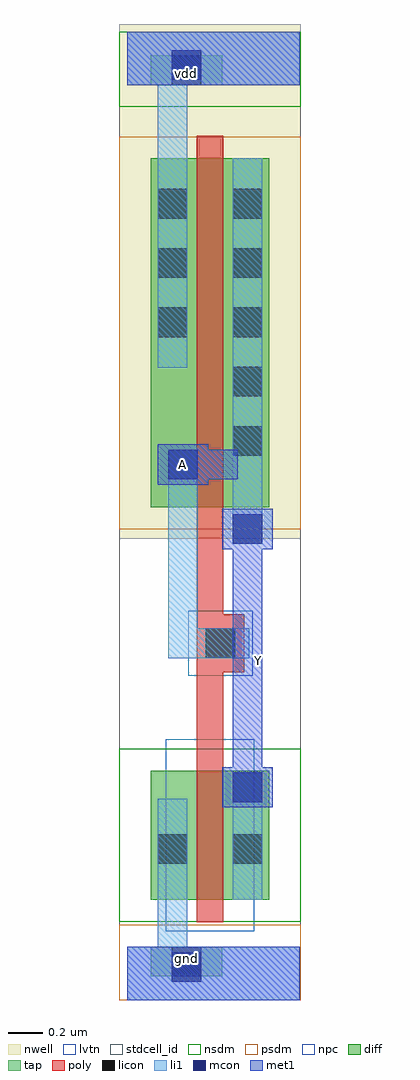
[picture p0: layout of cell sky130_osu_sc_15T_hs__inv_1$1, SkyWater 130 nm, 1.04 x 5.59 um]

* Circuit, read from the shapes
.subckt sky130_osu_sc_15T_hs__inv_1$1 A Y gnd vdd
XM1 Y A gnd gnd sky130_fd_pr__nfet_01v8_lvt w=0.74 l=0.15
XM2 Y A vdd vdd sky130_fd_pr__pfet_01v8 w=2 l=0.15
.ends

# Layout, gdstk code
import gdstk
lib = gdstk.Library(unit=1e-6, precision=1e-09)
def R(c, l, rs):  # rectangles x0, y0, x1, y1
    for r in rs: c.add(gdstk.rectangle(r[:2], r[2:], *l))
def A(c, l, x, y, w, h, nx, ny, dx, dy):  # array of equal rectangles
    R(c, l, [(x+i*dx, y+j*dy, x+i*dx+w, y+j*dy+h) for i in range(nx) for j in range(ny)])
nwell = (64, 20)
diff = (65, 20)
tap = (65, 44)
poly = (66, 20)
licon = (66, 44)
li1 = (67, 20)
mcon = (67, 44)
met1 = (68, 20)
stdcell_id = (81, 4)
nsdm = (93, 44)
psdm = (94, 20)
npc = (95, 20)
lvtn = (125, 44)

sky130_osu_sc_15t_hs__in = lib.new_cell('sky130_osu_sc_15T_hs__inv_1$1')
R(sky130_osu_sc_15t_hs__in, nwell, [(-0.045,2.645,0.995,5.595)])
R(sky130_osu_sc_15t_hs__in, diff, [(0.135,0.575,0.815,1.315), (0.135,2.825,0.815,4.825)])
R(sky130_osu_sc_15t_hs__in, tap, [(0.135,0.135,0.545,0.305), (0.135,5.245,0.545,5.415)])
R(sky130_osu_sc_15t_hs__in, poly, [(0.4,0.445,0.55,1.88), (0.4,1.88,0.67,2.21), (0.4,2.21,0.55,4.955)])
A(sky130_osu_sc_15t_hs__in, licon, 0.605, 3.12, 0.17, 0.17, 1, 5, 0, 0.34)
A(sky130_osu_sc_15t_hs__in, licon, 0.175, 3.8, 0.17, 0.17, 1, 3, 0, 0.34)
R(sky130_osu_sc_15t_hs__in, licon, [(0.255,0.135,0.425,0.305), (0.175,0.78,0.345,0.95), (0.605,0.78,0.775,0.95), (0.45,1.96,0.62,2.13), (0.255,5.245,0.425,5.415)])
R(sky130_osu_sc_15t_hs__in, li1, [(0,0,0.99,0.305), (0.175,0.305,0.345,1.155), (0.605,0.575,0.775,1.305), (0.235,1.96,0.7,2.13), (0.235,2.13,0.405,3.155), (0.605,2.615,0.775,4.825), (0.175,3.625,0.345,5.245), (0,5.245,0.99,5.55)])
R(sky130_osu_sc_15t_hs__in, mcon, [(0.255,0.105,0.425,0.275), (0.605,1.135,0.775,1.305), (0.605,2.615,0.775,2.785), (0.235,2.985,0.405,3.155), (0.255,5.275,0.425,5.445)])
R(sky130_osu_sc_15t_hs__in, met1, [(0,0,0.99,0.305), (0.545,1.105,0.835,1.335), (0.605,1.335,0.775,2.585), (0.545,2.585,0.835,2.815), (0.175,2.955,0.465,2.985), (0.175,2.985,0.635,3.155), (0.175,3.155,0.465,3.185), (0,5.245,0.99,5.55)])
R(sky130_osu_sc_15t_hs__in, stdcell_id, [(-0.045,0,0.995,5.55)])
R(sky130_osu_sc_15t_hs__in, nsdm, [(-0.045,0.45,0.995,1.44), (-0.045,5.12,0.995,5.55)])
R(sky130_osu_sc_15t_hs__in, psdm, [(-0.045,0,0.995,0.43), (-0.045,2.7,0.995,4.95)])
R(sky130_osu_sc_15t_hs__in, npc, [(0.35,1.86,0.72,2.23)])
R(sky130_osu_sc_15t_hs__in, lvtn, [(0.22,0.395,0.73,1.495)])
sky130_osu_sc_15t_hs__in.add(gdstk.Label('gnd', (0.34,0.24), layer=68, texttype=16))
sky130_osu_sc_15t_hs__in.add(gdstk.Label('vdd', (0.34,5.31), layer=68, texttype=16))
sky130_osu_sc_15t_hs__in.add(gdstk.Label('Y', (0.755,1.945), layer=68, texttype=5))
sky130_osu_sc_15t_hs__in.add(gdstk.Label('A', (0.32,3.07), layer=68, texttype=5))

lib.write_gds('sky130_osu_sc_15T_hs__inv_1_1.gds')
